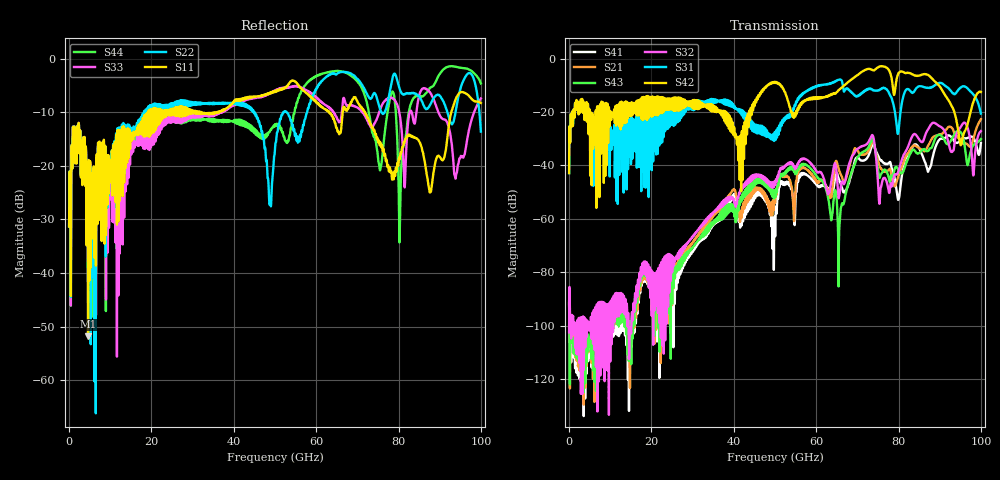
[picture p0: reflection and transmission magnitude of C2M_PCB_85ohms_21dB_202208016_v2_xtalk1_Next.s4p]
! Info: Touchstone file created by Circ.  Input file=Intel_C2M_200G_8p0in_202208016_staggered.circ
# Hz S RI R 50
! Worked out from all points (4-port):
!   10000 points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, 10 MHz to 100 GHz, reference 50 ohm
!   strongest paths, dB at 10 MHz, 25.01 GHz, 50.01 GHz, 75.01 GHz, 100 GHz:
!     S42: -42.9, -18.8, -9.2, -3.3, -12.5
!     S31: -42.9, -23.7, -28.2, -12.0, -20.6
!     S32: -102.6, -79.6, -47.2, -46.0, -27.2
!     S43: -92.1, -89.5, -50.5, -41.8, -30.2
!     S21: -91.7, -91.0, -54.0, -38.2, -22.7
!     S41: -91.0, -89.9, -65.2, -36.3, -31.6
!   lowest |S11| = -51.8 dB at 4.61 GHz (marker M1), VSWR 1.01, Z = 49.7 + j0.0191 ohm
!   |S11| at or under -10 dB: start of sweep to 19.3 GHz; 32.1 GHz to 35.82 GHz (3.722 GHz wide, 11 % of centre); 71.89 GHz to 92.81 GHz (20.93 GHz wide, 25.4 % of centre)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
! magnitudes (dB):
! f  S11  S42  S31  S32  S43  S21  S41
! 10 MHz  -31.3  -42.9  -42.9  -102.6  -92.1  -91.7  -91.0
! 4.61 GHz  -51.8  -17.4  -18.3  -101.4  -109.1  -109.9  -113.0
! 41.37 GHz  -7.9  -33.6  -19.0  -50.4  -53.7  -57.8  -58.0
! 48.68 GHz  -6.5  -9.4  -29.4  -47.5  -49.0  -57.2  -56.2
! 76.13 GHz  -17.1  -2.9  -11.1  -45.7  -42.4  -42.0  -38.8
! 95.19 GHz  -6.2  -32.2  -10.7  -25.4  -27.7  -31.1  -30.3
! 100 GHz  -8.3  -12.5  -20.6  -27.2  -30.2  -22.7  -31.6
